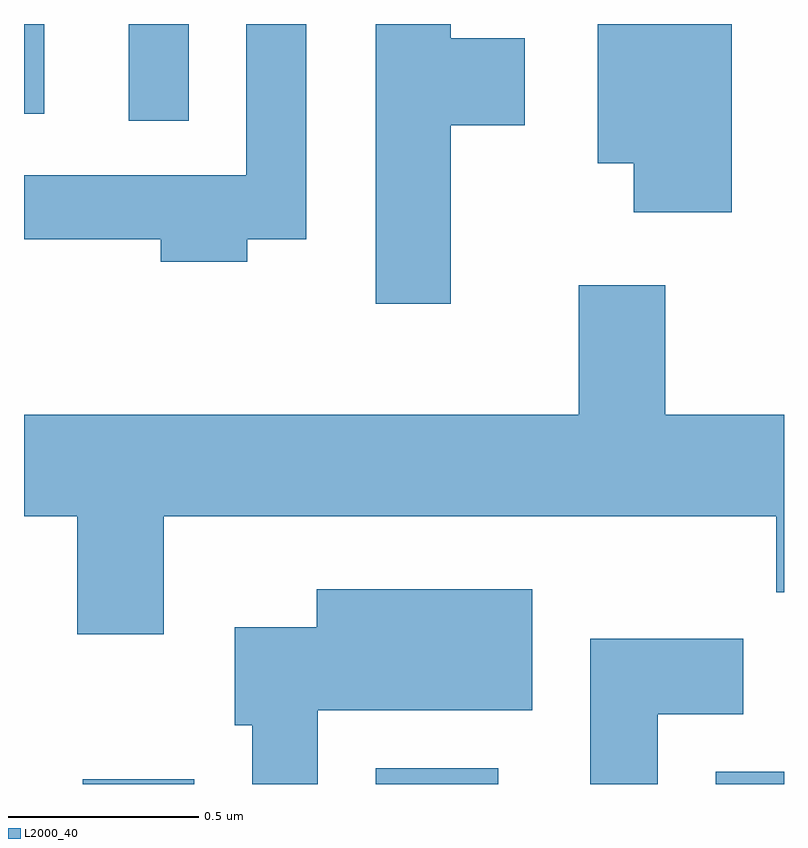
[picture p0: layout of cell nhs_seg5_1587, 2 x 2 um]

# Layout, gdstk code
import gdstk
lib = gdstk.Library(unit=1e-6, precision=1e-09)
def R(c, l, rs):  # rectangles x0, y0, x1, y1
    for r in rs: c.add(gdstk.rectangle(r[:2], r[2:], *l))
def P(c, l, *ps):  # polygons
    for p in ps: c.add(gdstk.Polygon(p, *l))
L2000_40 = (2000, 40)

nhs_seg5_1587 = lib.new_cell('nhs_seg5_1587')
R(nhs_seg5_1587, L2000_40, [(196.766,1476.072,197.059,1476.084), (197.536,1476.072,197.859,1476.114), (198.431,1476.072,198.611,1476.104), (196.886,1477.818,197.044,1478.072), (196.611,1477.836,196.664,1478.072)])
P(nhs_seg5_1587, L2000_40, [(197.199,1477.506),(197.354,1477.506),(197.354,1478.072),(197.196,1478.072),(197.196,1477.674),(196.611,1477.674),(196.611,1477.506),(196.971,1477.506),(196.971,1477.446),(197.199,1477.446)],
  [(197.734,1477.806),(197.929,1477.806),(197.929,1478.034),(197.734,1478.034),(197.734,1478.072),(197.536,1478.072),(197.536,1477.336),(197.734,1477.336)],
  [(198.474,1478.072),(198.121,1478.072),(198.121,1477.706),(198.216,1477.706),(198.216,1477.576),(198.474,1477.576)],
  [(196.979,1476.776),(198.591,1476.776),(198.591,1476.576),(198.611,1476.576),(198.611,1477.044),(198.299,1477.044),(198.299,1477.384),(198.071,1477.384),(198.071,1477.044),(196.611,1477.044),(196.611,1476.776),(196.751,1476.776),(196.751,1476.466),(196.979,1476.466)],
  [(197.384,1476.266),(197.949,1476.266),(197.949,1476.584),(197.381,1476.584),(197.381,1476.484),(197.166,1476.484),(197.166,1476.226),(197.211,1476.226),(197.211,1476.072),(197.384,1476.072)],
  [(198.279,1476.256),(198.504,1476.256),(198.504,1476.454),(198.101,1476.454),(198.101,1476.072),(198.279,1476.072)])

lib.write_gds('nhs_seg5_1587.gds')
